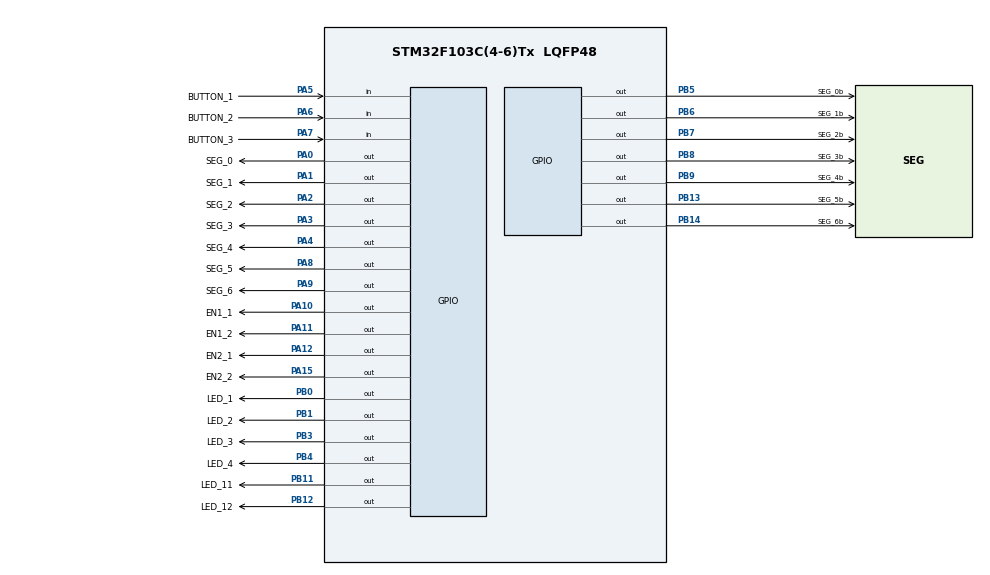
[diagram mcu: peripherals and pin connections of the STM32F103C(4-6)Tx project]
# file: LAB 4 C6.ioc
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Mcu.Family=STM32F1
Mcu.Name=STM32F103C(4-6)Tx
Mcu.Package=LQFP48
NVIC.PriorityGroup=NVIC_PRIORITYGROUP_4
NVIC.TIM2_IRQn=true\:0\:0\:false\:false\:true\:true\:true\:true
PA0-WKUP.GPIO_Label=SEG_0
PA0-WKUP.Signal=GPIO_Output
PA1.GPIO_Label=SEG_1
PA1.Signal=GPIO_Output
PA10.GPIO_Label=EN1_1
PA10.Signal=GPIO_Output
PA11.GPIO_Label=EN1_2
PA11.Signal=GPIO_Output
PA12.GPIO_Label=EN2_1
PA12.Signal=GPIO_Output
PA13.Mode=Serial_Wire
PA13.Signal=SYS_JTMS-SWDIO
PA14.Mode=Serial_Wire
PA14.Signal=SYS_JTCK-SWCLK
PA15.GPIO_Label=EN2_2
PA15.Signal=GPIO_Output
PA2.GPIO_Label=SEG_2
PA2.Signal=GPIO_Output
PA3.GPIO_Label=SEG_3
PA3.Signal=GPIO_Output
PA4.GPIO_Label=SEG_4
PA4.Signal=GPIO_Output
PA5.GPIO_Label=BUTTON_1
PA5.GPIO_PuPd=GPIO_PULLUP
PA5.Signal=GPIO_Input
PA6.GPIO_Label=BUTTON_2
PA6.GPIO_PuPd=GPIO_PULLUP
PA6.Signal=GPIO_Input
PA7.GPIO_Label=BUTTON_3
PA7.GPIO_PuPd=GPIO_PULLUP
PA7.Signal=GPIO_Input
PA8.GPIO_Label=SEG_5
PA8.Signal=GPIO_Output
PA9.GPIO_Label=SEG_6
PA9.Signal=GPIO_Output
PB0.GPIO_Label=LED_1
PB0.Signal=GPIO_Output
PB1.GPIO_Label=LED_2
PB1.Signal=GPIO_Output
PB11.GPIO_Label=LED_11
PB11.Signal=GPIO_Output
PB12.GPIO_Label=LED_12
PB12.Signal=GPIO_Output
PB13.GPIO_Label=SEG_5b
PB13.Signal=GPIO_Output
PB14.GPIO_Label=SEG_6b
PB14.Signal=GPIO_Output
PB3.GPIO_Label=LED_3
PB3.Signal=GPIO_Output
PB4.GPIO_Label=LED_4
PB4.Signal=GPIO_Output
PB5.GPIO_Label=SEG_0b
PB5.Signal=GPIO_Output
PB6.GPIO_Label=SEG_1b
PB6.Signal=GPIO_Output
PB7.GPIO_Label=SEG_2b
PB7.Signal=GPIO_Output
PB8.GPIO_Label=SEG_3b
PB8.Signal=GPIO_Output
PB9.GPIO_Label=SEG_4b
PB9.Signal=GPIO_Output
PD0-OSC_IN.Mode=HSE-External-Oscillator
PD0-OSC_IN.Signal=RCC_OSC_IN
PD1-OSC_OUT.Mode=HSE-External-Oscillator
PD1-OSC_OUT.Signal=RCC_OSC_OUT
ProjectManager.HeapSize=0x200
ProjectManager.StackSize=0x400
ProjectManager.TargetToolchain=STM32CubeIDE
RCC.APB1Freq_Value=8000000
RCC.APB2Freq_Value=8000000
TIM2.Period=9
TIM2.Prescaler=7999
VP_TIM2_VS_ClockSourceINT.Mode=Internal
board=custom

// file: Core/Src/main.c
/* USER CODE BEGIN Header */
/**
  ******************************************************************************
  * @file           : main.c
  * @brief          : Main program body
  ******************************************************************************
  * @attention
  *
  * Copyright (c) 2024 STMicroelectronics.
  * All rights reserved.
  *
  * This software is licensed under terms that can be found in the LICENSE file
  * in the root directory of this software component.
  * If no LICENSE file comes with this software, it is provided AS-IS.
  *
  ******************************************************************************
  */
/* USER CODE END Header */
#include "main.h"

/* USER CODE BEGIN Includes */
#include "software_timer.h"
#include "button.h"
#include "fsm_automatic.h"
#include "fsm_manual.h"
#include "fsm_select_mode.h"
#include "scheduler.h"
#include "stm32f1xx_hal.h"
/* USER CODE END Includes */

TIM_HandleTypeDef htim2;

void SystemClock_Config(void);
static void MX_GPIO_Init(void);
static void MX_TIM2_Init(void);

/* USER CODE BEGIN 0 */
//  void led1test() {
//    HAL_GPIO_TogglePin(LED_1_GPIO_Port, LED_1_Pin);
//  }
//  void led2test() {
//    HAL_GPIO_TogglePin(LED_2_GPIO_Port, LED_2_Pin);
//  }
//  void led3test() {
//    HAL_GPIO_TogglePin(LED_3_GPIO_Port, LED_3_Pin);
//  }
//  void led4test() {
//    HAL_GPIO_TogglePin(LED_4_GPIO_Port, LED_4_Pin);
//  }
//  void led5test() {
//    HAL_GPIO_TogglePin(LED_5_GPIO_Port, LED_5_Pin);
//  }
/* USER CODE END 0 */

int main(void)
{

  /* MCU Configuration--------------------------------------------------------*/

  /* Reset of all peripherals, Initializes the Flash interface and the Systick. */
  HAL_Init();

  /* Configure the system clock */
  SystemClock_Config();

  /* Initialize all configured peripherals */
  MX_GPIO_Init();
  MX_TIM2_Init();
  /* USER CODE BEGIN 2 */
  HAL_TIM_Base_Start_IT(&htim2);
  /* USER CODE END 2 */

  /* Infinite loop */
  /* USER CODE BEGIN WHILE */

  Scheduler_Init();
//  Scheduler_AddTask(led1test, 1000, 000);
//  Scheduler_AddTask(led2test, 5000, 4000);
//  Scheduler_AddTask(led3test, 10000, 3000);
//  Scheduler_AddTask(led4test, 15000, 2000);
//  Scheduler_AddTask(led5test, 20000, 1000);
  while (1)
  {
      Scheduler_Dispatch_Tasks();

	  	fsm_automatic_run_way1();
	  	fsm_automatic_run_way2();
	  	fsm_select_mode_run();

    /* USER CODE END WHILE */

  }
}

void SystemClock_Config(void)
{
  RCC_OscInitTypeDef RCC_OscInitStruct = {0};
  RCC_ClkInitTypeDef RCC_ClkInitStruct = {0};

  /** Initializes the RCC Oscillators according to the specified parameters
  * in the RCC_OscInitTypeDef structure.
  */
  RCC_OscInitStruct.OscillatorType = RCC_OSCILLATORTYPE_HSI;
  RCC_OscInitStruct.HSIState = RCC_HSI_ON;
  RCC_OscInitStruct.HSICalibrationValue = RCC_HSICALIBRATION_DEFAULT;
  RCC_OscInitStruct.PLL.PLLState = RCC_PLL_NONE;
  if (HAL_RCC_OscConfig(&RCC_OscInitStruct) != HAL_OK)
  {
    Error_Handler();
  }

  /** Initializes the CPU, AHB and APB buses clocks
  */
  RCC_ClkInitStruct.ClockType = RCC_CLOCKTYPE_HCLK|RCC_CLOCKTYPE_SYSCLK
                              |RCC_CLOCKTYPE_PCLK1|RCC_CLOCKTYPE_PCLK2;
  RCC_ClkInitStruct.SYSCLKSource = RCC_SYSCLKSOURCE_HSI;
  RCC_ClkInitStruct.AHBCLKDivider = RCC_SYSCLK_DIV1;
  RCC_ClkInitStruct.APB1CLKDivider = RCC_HCLK_DIV1;
  RCC_ClkInitStruct.APB2CLKDivider = RCC_HCLK_DIV1;

  if (HAL_RCC_ClockConfig(&RCC_ClkInitStruct, FLASH_LATENCY_0) != HAL_OK)
  {
    Error_Handler();
  }
}

static void MX_TIM2_Init(void)
{

  TIM_ClockConfigTypeDef sClockSourceConfig = {0};
  TIM_MasterConfigTypeDef sMasterConfig = {0};

  htim2.Instance = TIM2;
  htim2.Init.Prescaler = 7999;
  htim2.Init.CounterMode = TIM_COUNTERMODE_UP;
  htim2.Init.Period = 9;
  htim2.Init.ClockDivision = TIM_CLOCKDIVISION_DIV1;
  htim2.Init.AutoReloadPreload = TIM_AUTORELOAD_PRELOAD_DISABLE;
  if (HAL_TIM_Base_Init(&htim2) != HAL_OK)
  {
    Error_Handler();
  }
  sClockSourceConfig.ClockSource = TIM_CLOCKSOURCE_INTERNAL;
  if (HAL_TIM_ConfigClockSource(&htim2, &sClockSourceConfig) != HAL_OK)
  {
    Error_Handler();
  }
  sMasterConfig.MasterOutputTrigger = TIM_TRGO_RESET;
  sMasterConfig.MasterSlaveMode = TIM_MASTERSLAVEMODE_DISABLE;
  if (HAL_TIMEx_MasterConfigSynchronization(&htim2, &sMasterConfig) != HAL_OK)
  {
    Error_Handler();
  }

}

static void MX_GPIO_Init(void)
{
  GPIO_InitTypeDef GPIO_InitStruct = {0};

  /* GPIO Ports Clock Enable */
  __HAL_RCC_GPIOD_CLK_ENABLE();
  __HAL_RCC_GPIOA_CLK_ENABLE();
  __HAL_RCC_GPIOB_CLK_ENABLE();

  /*Configure GPIO pin Output Level */
  HAL_GPIO_WritePin(GPIOA, SEG_0_Pin|SEG_1_Pin|SEG_2_Pin|SEG_3_Pin
                          |SEG_4_Pin|SEG_5_Pin|SEG_6_Pin|EN1_1_Pin
                          |EN1_2_Pin|EN2_1_Pin|EN2_2_Pin, GPIO_PIN_RESET);

  /*Configure GPIO pin Output Level */
  HAL_GPIO_WritePin(GPIOB, LED_1_Pin|LED_2_Pin|LED_11_Pin|LED_12_Pin
                          |SEG_5b_Pin|SEG_6b_Pin|LED_3_Pin|LED_4_Pin
                          |SEG_0b_Pin|SEG_1b_Pin|SEG_2b_Pin|SEG_3b_Pin
                          |SEG_4b_Pin, GPIO_PIN_RESET);

  /*Configure GPIO pins : SEG_0_Pin SEG_1_Pin SEG_2_Pin SEG_3_Pin
                           SEG_4_Pin SEG_5_Pin SEG_6_Pin EN1_1_Pin
                           EN1_2_Pin EN2_1_Pin EN2_2_Pin */
  GPIO_InitStruct.Pin = SEG_0_Pin|SEG_1_Pin|SEG_2_Pin|SEG_3_Pin
                          |SEG_4_Pin|SEG_5_Pin|SEG_6_Pin|EN1_1_Pin
                          |EN1_2_Pin|EN2_1_Pin|EN2_2_Pin;
  GPIO_InitStruct.Mode = GPIO_MODE_OUTPUT_PP;
  GPIO_InitStruct.Pull = GPIO_NOPULL;
  GPIO_InitStruct.Speed = GPIO_SPEED_FREQ_LOW;
  HAL_GPIO_Init(GPIOA, &GPIO_InitStruct);

  /*Configure GPIO pins : BUTTON_1_Pin BUTTON_2_Pin BUTTON_3_Pin */
  GPIO_InitStruct.Pin = BUTTON_1_Pin|BUTTON_2_Pin|BUTTON_3_Pin;
  GPIO_InitStruct.Mode = GPIO_MODE_INPUT;
  GPIO_InitStruct.Pull = GPIO_PULLUP;
  HAL_GPIO_Init(GPIOA, &GPIO_InitStruct);

  /*Configure GPIO pins : LED_1_Pin LED_2_Pin LED_11_Pin LED_12_Pin
                           SEG_5b_Pin SEG_6b_Pin LED_3_Pin LED_4_Pin
                           SEG_0b_Pin SEG_1b_Pin SEG_2b_Pin SEG_3b_Pin
                           SEG_4b_Pin */
  GPIO_InitStruct.Pin = LED_1_Pin|LED_2_Pin|LED_11_Pin|LED_12_Pin
                          |SEG_5b_Pin|SEG_6b_Pin|LED_3_Pin|LED_4_Pin
                          |SEG_0b_Pin|SEG_1b_Pin|SEG_2b_Pin|SEG_3b_Pin
                          |SEG_4b_Pin;
  GPIO_InitStruct.Mode = GPIO_MODE_OUTPUT_PP;
  GPIO_InitStruct.Pull = GPIO_NOPULL;
  GPIO_InitStruct.Speed = GPIO_SPEED_FREQ_LOW;
  HAL_GPIO_Init(GPIOB, &GPIO_InitStruct);

}

/* USER CODE BEGIN 4 */
//int counter=0;
void HAL_TIM_PeriodElapsedCallback(TIM_HandleTypeDef *htim) {
	getKeyInput();
  timer_run();
  Scheduler_Update();

}
/* USER CODE END 4 */

void Error_Handler(void)
{
  __disable_irq();
  while (1)
  {
  }
}
